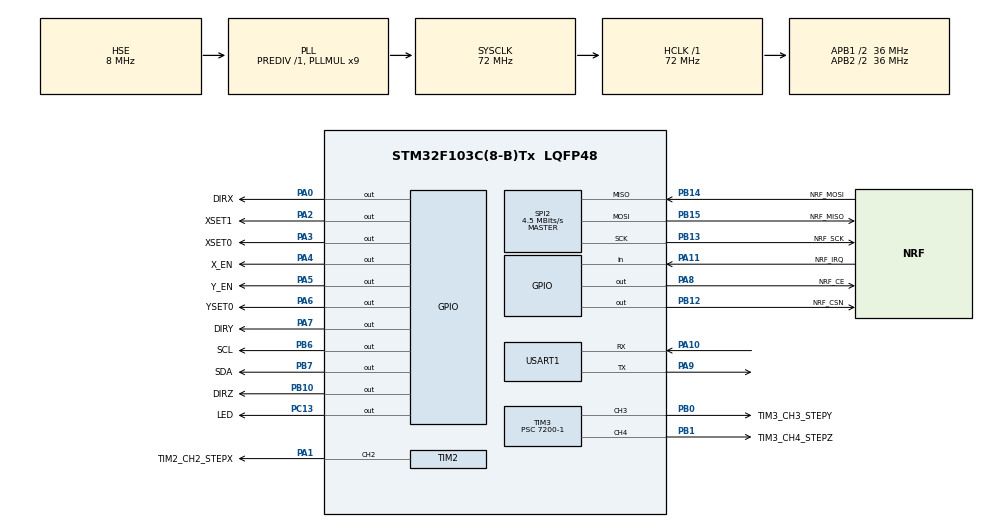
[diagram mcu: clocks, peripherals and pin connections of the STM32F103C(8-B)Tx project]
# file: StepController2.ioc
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Dma.Request0=TIM3_CH3
Dma.Request1=TIM2_CH2/CH4
Dma.TIM2_CH2/CH4.1.Direction=DMA_MEMORY_TO_PERIPH
Dma.TIM2_CH2/CH4.1.Instance=DMA1_Channel7
Dma.TIM2_CH2/CH4.1.MemDataAlignment=DMA_MDATAALIGN_HALFWORD
Dma.TIM2_CH2/CH4.1.MemInc=DMA_MINC_ENABLE
Dma.TIM2_CH2/CH4.1.Mode=DMA_NORMAL
Dma.TIM2_CH2/CH4.1.PeriphDataAlignment=DMA_PDATAALIGN_HALFWORD
Dma.TIM2_CH2/CH4.1.PeriphInc=DMA_PINC_DISABLE
Dma.TIM2_CH2/CH4.1.Priority=DMA_PRIORITY_MEDIUM
Dma.TIM3_CH3.0.Direction=DMA_MEMORY_TO_PERIPH
Dma.TIM3_CH3.0.Instance=DMA1_Channel2
Dma.TIM3_CH3.0.MemDataAlignment=DMA_MDATAALIGN_HALFWORD
Dma.TIM3_CH3.0.MemInc=DMA_MINC_ENABLE
Dma.TIM3_CH3.0.Mode=DMA_NORMAL
Dma.TIM3_CH3.0.PeriphDataAlignment=DMA_PDATAALIGN_HALFWORD
Dma.TIM3_CH3.0.PeriphInc=DMA_PINC_DISABLE
Dma.TIM3_CH3.0.Priority=DMA_PRIORITY_MEDIUM
FREERTOS.Queues01=PosData,16,uint16_t,NULL
FREERTOS.Tasks01=defaultTask,0,64,StartDefaultTask,Default;myTask02,-3,160,StepControltask,Default;myTask03,-3,128,NRFTask,Default
FREERTOS.configMINIMAL_STACK_SIZE=64
Mcu.Family=STM32F1
Mcu.Name=STM32F103C(8-B)Tx
Mcu.Package=LQFP48
NVIC.DMA1_Channel2_IRQn=true\:5\:0\:false\:false\:true\:true
NVIC.DMA1_Channel7_IRQn=true\:5\:0\:false\:false\:true\:true
NVIC.PriorityGroup=NVIC_PRIORITYGROUP_4
NVIC.SPI2_IRQn=true\:5\:0\:false\:false\:true\:true
NVIC.TIM2_IRQn=true\:5\:0\:true\:false\:true\:true
NVIC.TIM3_IRQn=true\:5\:0\:false\:false\:true\:true
PA0-WKUP.GPIO_Label=DIRX
PA0-WKUP.Signal=GPIO_Output
PA1.GPIO_Label=TIM2_CH2_STEPX
PA1.Signal=S_TIM2_CH2
PA10.Mode=Asynchronous
PA10.Signal=USART1_RX
PA11.GPIO_Label=NRF_IRQ
PA11.Signal=GPIO_Input
PA13.Mode=Serial_Wire
PA13.Signal=SYS_JTMS-SWDIO
PA14.Mode=Serial_Wire
PA14.Signal=SYS_JTCK-SWCLK
PA2.GPIO_Label=XSET1
PA2.Signal=GPIO_Output
PA3.GPIO_Label=XSET0
PA3.GPIO_Speed=GPIO_SPEED_FREQ_HIGH
PA3.PinState=GPIO_PIN_RESET
PA3.Signal=GPIO_Output
PA4.GPIO_Label=X_EN
PA4.Signal=GPIO_Output
PA5.GPIO_Label=Y_EN
PA5.Signal=GPIO_Output
PA6.GPIO_Label=YSET0
PA6.Signal=GPIO_Output
PA7.GPIO_Label=DIRY
PA7.Signal=GPIO_Output
PA8.GPIO_Label=NRF_CE
PA8.Signal=GPIO_Output
PA9.Mode=Asynchronous
PA9.Signal=USART1_TX
PB0.GPIO_Label=TIM3_CH3_STEPY
PB0.Signal=S_TIM3_CH3
PB1.GPIO_Label=TIM3_CH4_STEPZ
PB1.Signal=S_TIM3_CH4
PB10.GPIO_Label=DIRZ
PB10.Signal=GPIO_Output
PB12.GPIO_Label=NRF_CSN
PB12.Signal=GPIO_Output
PB13.GPIO_Label=NRF_SCK
PB13.Mode=Full_Duplex_Master
PB13.Signal=SPI2_SCK
PB14.GPIO_Label=NRF_MOSI
PB14.Mode=Full_Duplex_Master
PB14.Signal=SPI2_MISO
PB15.GPIO_Label=NRF_MISO
PB15.Mode=Full_Duplex_Master
PB15.Signal=SPI2_MOSI
PB6.GPIO_Label=SCL
PB6.GPIO_Speed=GPIO_SPEED_FREQ_HIGH
PB6.PinState=GPIO_PIN_RESET
PB6.Signal=GPIO_Output
PB7.GPIO_Label=SDA
PB7.GPIO_Speed=GPIO_SPEED_FREQ_HIGH
PB7.Signal=GPIO_Output
PC13-TAMPER-RTC.GPIO_Label=LED
PC13-TAMPER-RTC.GPIO_Speed=GPIO_SPEED_FREQ_HIGH
PC13-TAMPER-RTC.Signal=GPIO_Output
PC14-OSC32_IN.Mode=LSE-External-Oscillator
PC14-OSC32_IN.Signal=RCC_OSC32_IN
PC15-OSC32_OUT.Mode=LSE-External-Oscillator
PC15-OSC32_OUT.Signal=RCC_OSC32_OUT
PD0-OSC_IN.Mode=HSE-External-Oscillator
PD0-OSC_IN.Signal=RCC_OSC_IN
PD1-OSC_OUT.Mode=HSE-External-Oscillator
PD1-OSC_OUT.Signal=RCC_OSC_OUT
ProjectManager.HeapSize=0x200
ProjectManager.StackSize=0x400
ProjectManager.TargetToolchain=MDK-ARM V5
RCC.AHBFreq_Value=72000000
RCC.APB1CLKDivider=RCC_HCLK_DIV2
RCC.APB1Freq_Value=36000000
RCC.APB1TimFreq_Value=72000000
RCC.APB2CLKDivider=RCC_HCLK_DIV2
RCC.APB2Freq_Value=36000000
RCC.APB2TimFreq_Value=72000000
RCC.HCLKFreq_Value=72000000
RCC.HSIState=RCC_HSI_ON
RCC.PLLMUL=RCC_PLL_MUL9
RCC.PLLSourceVirtual=RCC_PLLSOURCE_HSE
RCC.RCC_MCOSource=RCC_MCO1SOURCE_PLLCLK
RCC.SYSCLKFreq_VALUE=72000000
RCC.SYSCLKSource=RCC_SYSCLKSOURCE_PLLCLK
RCC.USBFreq_Value=72000000
SH.S_TIM2_CH2.0=TIM2_CH2,PWM Generation2 CH2
SH.S_TIM3_CH3.0=TIM3_CH3,PWM Generation3 CH3
SH.S_TIM3_CH4.0=TIM3_CH4,PWM Generation4 CH4
SPI2.BaudRatePrescaler=SPI_BAUDRATEPRESCALER_8
SPI2.CalculateBaudRate=4.5 MBits/s
SPI2.Mode=SPI_MODE_MASTER
TIM2.Channel-PWM\ Generation2\ CH2=TIM_CHANNEL_2
TIM2.Period=2000-1
TIM2.Prescaler=7200-1
TIM2.Pulse-PWM\ Generation2\ CH2=1000
TIM3.Channel-PWM\ Generation3\ CH3=TIM_CHANNEL_3
TIM3.Channel-PWM\ Generation4\ CH4=TIM_CHANNEL_4
TIM3.Period=2000-1
TIM3.Prescaler=7200-1
TIM3.Pulse-PWM\ Generation3\ CH3=1000
TIM3.Pulse-PWM\ Generation4\ CH4=1000
VP_CRC_VS_CRC.Mode=CRC_Activate
VP_FREERTOS_VS_ENABLE.Mode=Enabled
board=StepController2

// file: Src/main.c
/**
  ******************************************************************************
  * File Name          : main.c
  * Description        : Main program body
  ******************************************************************************
  *
  * COPYRIGHT(c) 2016 STMicroelectronics
  *
  * Redistribution and use in source and binary forms, with or without modification,
  * are permitted provided that the following conditions are met:
  *   1. Redistributions of source code must retain the above copyright notice,
  *      this list of conditions and the following disclaimer.
  *   2. Redistributions in binary form must reproduce the above copyright notice,
  *      this list of conditions and the following disclaimer in the documentation
  *      and/or other materials provided with the distribution.
  *   3. Neither the name of STMicroelectronics nor the names of its contributors
  *      may be used to endorse or promote products derived from this software
  *      without specific prior written permission.
  *
  * THIS SOFTWARE IS PROVIDED BY THE COPYRIGHT HOLDERS AND CONTRIBUTORS "AS IS"
  * AND ANY EXPRESS OR IMPLIED WARRANTIES, INCLUDING, BUT NOT LIMITED TO, THE
  * IMPLIED WARRANTIES OF MERCHANTABILITY AND FITNESS FOR A PARTICULAR PURPOSE ARE
  * DISCLAIMED. IN NO EVENT SHALL THE COPYRIGHT HOLDER OR CONTRIBUTORS BE LIABLE
  * FOR ANY DIRECT, INDIRECT, INCIDENTAL, SPECIAL, EXEMPLARY, OR CONSEQUENTIAL
  * DAMAGES (INCLUDING, BUT NOT LIMITED TO, PROCUREMENT OF SUBSTITUTE GOODS OR
  * SERVICES; LOSS OF USE, DATA, OR PROFITS; OR BUSINESS INTERRUPTION) HOWEVER
  * CAUSED AND ON ANY THEORY OF LIABILITY, WHETHER IN CONTRACT, STRICT LIABILITY,
  * OR TORT (INCLUDING NEGLIGENCE OR OTHERWISE) ARISING IN ANY WAY OUT OF THE USE
  * OF THIS SOFTWARE, EVEN IF ADVISED OF THE POSSIBILITY OF SUCH DAMAGE.
  *
  ******************************************************************************
  */
#include "stm32f1xx_hal.h"
#include "cmsis_os.h"
#include "crc.h"
#include "dma.h"
#include "spi.h"
#include "tim.h"
#include "usart.h"
#include "gpio.h"

/* USER CODE BEGIN Includes */
#include "include.h"
/* USER CODE END Includes */

/* USER CODE BEGIN PV */
/* Private variables ---------------------------------------------------------*/

/* USER CODE END PV */

void SystemClock_Config(void);
void Error_Handler(void);
void MX_FREERTOS_Init(void);

/* USER CODE BEGIN PFP */
/* Private function prototypes -----------------------------------------------*/

/* USER CODE END PFP */

int main(void)
{

  /* MCU Configuration----------------------------------------------------------*/

  /* Reset of all peripherals, Initializes the Flash interface and the Systick. */
  HAL_Init();

  /* Configure the system clock */
  SystemClock_Config();

  /* Initialize all configured peripherals */
  MX_GPIO_Init();
  MX_DMA_Init();
  MX_CRC_Init();
  MX_TIM2_Init();
  MX_USART1_UART_Init();
  MX_TIM3_Init();
  MX_SPI2_Init();

  /* USER CODE BEGIN 2 */
  my_mem_init(SRAMIN);
	nrf24l01_init();
	HAL_Delay(20);
	while(NRF24L01_Check())
	{
		HAL_GPIO_TogglePin(LED_GPIO_Port,LED_Pin);
		HAL_Delay(500);
	}
	for(int i=0;i<=3;i++)
	{
		HAL_GPIO_TogglePin(LED_GPIO_Port,LED_Pin);
		HAL_Delay(100);
	}
  /* USER CODE END 2 */

  /* Call init function for freertos objects (in freertos.c) */
  MX_FREERTOS_Init();

  /* Start scheduler */
  osKernelStart();

  /* We should never get here as control is now taken by the scheduler */

  /* Infinite loop */
  while (1)
  {

  }

}

/** System Clock Configuration
*/
void SystemClock_Config(void)
{

  RCC_OscInitTypeDef RCC_OscInitStruct;
  RCC_ClkInitTypeDef RCC_ClkInitStruct;

  RCC_OscInitStruct.OscillatorType = RCC_OSCILLATORTYPE_HSE;
  RCC_OscInitStruct.HSEState = RCC_HSE_ON;
  RCC_OscInitStruct.HSEPredivValue = RCC_HSE_PREDIV_DIV1;
  RCC_OscInitStruct.PLL.PLLState = RCC_PLL_ON;
  RCC_OscInitStruct.PLL.PLLSource = RCC_PLLSOURCE_HSE;
  RCC_OscInitStruct.PLL.PLLMUL = RCC_PLL_MUL9;
  if (HAL_RCC_OscConfig(&RCC_OscInitStruct) != HAL_OK)
  {
    Error_Handler();
  }

  RCC_ClkInitStruct.ClockType = RCC_CLOCKTYPE_HCLK|RCC_CLOCKTYPE_SYSCLK
                              |RCC_CLOCKTYPE_PCLK1|RCC_CLOCKTYPE_PCLK2;
  RCC_ClkInitStruct.SYSCLKSource = RCC_SYSCLKSOURCE_PLLCLK;
  RCC_ClkInitStruct.AHBCLKDivider = RCC_SYSCLK_DIV1;
  RCC_ClkInitStruct.APB1CLKDivider = RCC_HCLK_DIV2;
  RCC_ClkInitStruct.APB2CLKDivider = RCC_HCLK_DIV2;
  if (HAL_RCC_ClockConfig(&RCC_ClkInitStruct, FLASH_LATENCY_2) != HAL_OK)
  {
    Error_Handler();
  }

  HAL_SYSTICK_Config(HAL_RCC_GetHCLKFreq()/1000);

  HAL_SYSTICK_CLKSourceConfig(SYSTICK_CLKSOURCE_HCLK);

  /* SysTick_IRQn interrupt configuration */
  HAL_NVIC_SetPriority(SysTick_IRQn, 15, 0);
}

void Error_Handler(void)
{
  while(1)
  {
  }
}

/************************ (C) COPYRIGHT STMicroelectronics *****END OF FILE****/

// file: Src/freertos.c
/**
  ******************************************************************************
  * File Name          : freertos.c
  * Description        : Code for freertos applications
  ******************************************************************************
  *
  * COPYRIGHT(c) 2016 STMicroelectronics
  *
  * Redistribution and use in source and binary forms, with or without modification,
  * are permitted provided that the following conditions are met:
  *   1. Redistributions of source code must retain the above copyright notice,
  *      this list of conditions and the following disclaimer.
  *   2. Redistributions in binary form must reproduce the above copyright notice,
  *      this list of conditions and the following disclaimer in the documentation
  *      and/or other materials provided with the distribution.
  *   3. Neither the name of STMicroelectronics nor the names of its contributors
  *      may be used to endorse or promote products derived from this software
  *      without specific prior written permission.
  *
  * THIS SOFTWARE IS PROVIDED BY THE COPYRIGHT HOLDERS AND CONTRIBUTORS "AS IS"
  * AND ANY EXPRESS OR IMPLIED WARRANTIES, INCLUDING, BUT NOT LIMITED TO, THE
  * IMPLIED WARRANTIES OF MERCHANTABILITY AND FITNESS FOR A PARTICULAR PURPOSE ARE
  * DISCLAIMED. IN NO EVENT SHALL THE COPYRIGHT HOLDER OR CONTRIBUTORS BE LIABLE
  * FOR ANY DIRECT, INDIRECT, INCIDENTAL, SPECIAL, EXEMPLARY, OR CONSEQUENTIAL
  * DAMAGES (INCLUDING, BUT NOT LIMITED TO, PROCUREMENT OF SUBSTITUTE GOODS OR
  * SERVICES; LOSS OF USE, DATA, OR PROFITS; OR BUSINESS INTERRUPTION) HOWEVER
  * CAUSED AND ON ANY THEORY OF LIABILITY, WHETHER IN CONTRACT, STRICT LIABILITY,
  * OR TORT (INCLUDING NEGLIGENCE OR OTHERWISE) ARISING IN ANY WAY OUT OF THE USE
  * OF THIS SOFTWARE, EVEN IF ADVISED OF THE POSSIBILITY OF SUCH DAMAGE.
  *
  ******************************************************************************
  */

#include "FreeRTOS.h"
#include "task.h"
#include "cmsis_os.h"

/* USER CODE BEGIN Includes */
#include "include.h"
/* USER CODE END Includes */

osThreadId defaultTaskHandle;
osThreadId myTask02Handle;
osThreadId myTask03Handle;
osMessageQId PosDataHandle;

/* USER CODE BEGIN Variables */
uint8_t Messagesign = 0;                      //消息队列标志
uint8_t sendtmp = 0x56;                    //发送成功标志
uint16_t *PenData = NULL;
uint8_t DataLength;                       //接收数组长度
static SemaphoreHandle_t  xMutex = NULL;
/* USER CODE END Variables */

void StartDefaultTask(void const * argument);
void StepControltask(void const * argument);
void NRFTask(void const * argument);
void MX_FREERTOS_Init(void); /* (MISRA C 2004 rule 8.1) */

/* USER CODE BEGIN FunctionPrototypes */
void USART_SendData(void const * argument, ...);
void AppObjCreate (void);
/* USER CODE END FunctionPrototypes */

/* Hook prototypes */

/* Init FreeRTOS */

void MX_FREERTOS_Init(void) {

  /* Create the thread(s) */
  /* definition and creation of defaultTask */
  osThreadDef(defaultTask, StartDefaultTask, osPriorityNormal, 0, 64);
  defaultTaskHandle = osThreadCreate(osThread(defaultTask), NULL);

  /* definition and creation of myTask02 */
  osThreadDef(myTask02, StepControltask, osPriorityIdle, 0, 160);
  myTask02Handle = osThreadCreate(osThread(myTask02), NULL);

  /* definition and creation of myTask03 */
  osThreadDef(myTask03, NRFTask, osPriorityIdle, 0, 128);
  myTask03Handle = osThreadCreate(osThread(myTask03), NULL);

  /* Create the queue(s) */
  /* definition and creation of PosData */
  osMessageQDef(PosData, 16, uint16_t);
  PosDataHandle = osMessageCreate(osMessageQ(PosData), NULL);

}

/* StartDefaultTask function */
void StartDefaultTask(void const * argument)
{

  for(;;)
  {
    osDelay(1);
  }
}

/* StepControltask function */
/* Process --- 1:Check the Message queues sign and receive
*/
void StepControltask(void const * argument)
{
  /* USER CODE BEGIN StepControltask */
  /* Infinite loop */
  for(;;)
  {
		if(Messagesign == 1)
    {
//      xQueueReceive(PosData,PenData,100);
    }
    osDelay(1);
  }
  /* USER CODE END StepControltask */
}

/* NRFTask function */
/* Process --- 1：Rx the length of data   2：malloc the mem
               3：check the first data    4：Send the receive success sign
               5: Put Message into queues     */
void NRFTask(void const * argument)
{
  /* USER CODE BEGIN NRFTask */
  /* Infinite loop */
  for(;;)
  {
		RX_Mode();
		if(NRF24L01_RxPacket(&DataLength)== 0)
		{
			AppObjCreate();              //创建互斥信号量
			PenData=(u16*)myrealloc(SRAMIN,PenData,(uint8_t)DataLength*100*sizeof(u16));
			HAL_Delay(20);
			if(NRF24L01_RxPacket(PenData) == 0)
      {
        if(PenData[0] == 0x80)
        {
//          osMessagePut(PosData,PenData,0);
          TX_Mode();
          NRF24L01_TxPacket(&sendtmp);
          Messagesign = 1;
        }
        else
        {
          USART_SendString("DATA Receive error!");
          Messagesign = 0;
        }
      }

			xSemaphoreGive(xMutex);      //释放信号量
		}
    osDelay(10);
  }
  /* USER CODE END NRFTask */
}

/* USER CODE BEGIN Application */
void AppObjCreate (void)
{
		/* 创建互斥信号量 */
    xMutex = xSemaphoreCreateMutex();

	if(xMutex == NULL)
    {
      /* 没有创建成功，在这里加入创建失败的处理机制 */
			USART_SendData("xMutex Create Failed!\r\n\0");
    }
}

/* USART_SendData function */
void USART_SendData(void const * argument, ...)
{
  /* USER CODE BEGIN USART_SendData */
  /* Infinite loop */
    char  buf_str[200];

		sprintf(buf_str,"%s\r\n",argument);

		xSemaphoreTake(xMutex, portMAX_DELAY);

    HAL_UART_Transmit(&huart1,(uint8_t*)buf_str,strlen(buf_str),300);

   	xSemaphoreGive(xMutex);
  /* USER CODE END USART_SendData */
}
/* USER CODE END Application */

/************************ (C) COPYRIGHT STMicroelectronics *****END OF FILE****/
